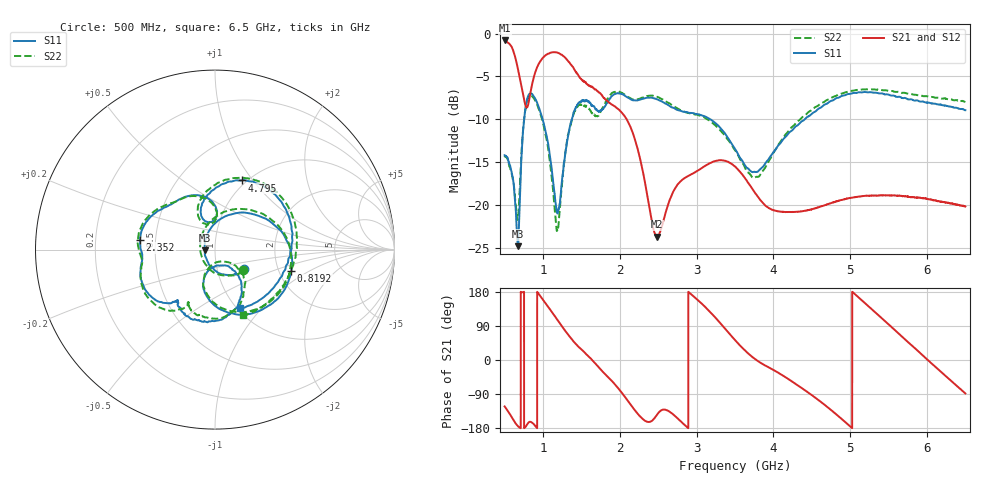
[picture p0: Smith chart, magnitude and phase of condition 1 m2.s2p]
# Hz S DB R 50
! CMT, S5065, 24347010, 24.3.4/3
! Date: 10/15/2024 11:50:22 AM
! Data: Format (Calibration Info)
! Freq	S11:dB/Ang(F2)	S21:dB/Ang(F2)	S12:dB/Ang(F2)	S22:dB/Ang(F2)
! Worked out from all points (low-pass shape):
!   10001 points, 500 MHz to 6.5 GHz, reference 50 ohm
!   highest |S21| = -0.81 dB at 503 MHz (marker M1); lowest = -23.7 dB at 2.484 GHz (marker M2)
!   |S21| within 3 dB of the highest: start of sweep to 665.3 MHz; 929.2 MHz to 1.379 GHz (450.1 MHz wide, 39 % of centre)
!   lowest |S11| = -24.8 dB at 672.8 MHz (marker M3), VSWR 1.12, Z = 44.6 - j0.429 ohm
!   |S11| at or under -10 dB: start of sweep to 754.8 MHz; 994.2 MHz to 1.377 GHz (382.6 MHz wide, 32.3 % of centre); 3.175 GHz to 4.411 GHz (1.236 GHz wide, 32.6 % of centre)
!   |S22| runs from -23.1 to -6.5 dB; largest |S21 - S12| = 0.0037
!   S11 on the Smith chart (normalised r, x): 500 MHz: 1.35, -0.30; 819.2 MHz: 2.33, -0.70; 2.352 GHz: 0.41, +0.05; 4.795 GHz: 0.95, +0.88; 6.5 GHz: 1.03, -0.77
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5e8  -14.20 -33.8  -0.81 -122.5  -0.81 -122.6  -14.28 -36.6
5.03e8  -14.26 -34.3  -0.81 -123.3  -0.82 -123.4  -14.36 -37.4
5.972e8  -16.45 -68.4  -1.67 -152.4  -1.66 -152.5  -16.57 -74.4
6.728e8  -24.82 -175.2  -4.11 -174.5  -4.12 -174.5  -21.66 179.8
7.442e8  -10.96 45.0  -7.34 179.0  -7.35 178.9  -10.86 51.6
8.192e8  -7.10 -15.8  -7.75 -163.8  -7.76 -163.7  -7.30 -12.2
1.0004e9  -10.19 -90.9  -2.82 159.0  -2.82 158.9  -10.47 -90.4
1.1846e9  -20.90 -85.0  -2.22 106.7  -2.21 106.6  -22.95 -77.7
1.3274e9  -11.88 -54.3  -3.23 66.8  -3.23 66.8  -11.77 -49.9
1.5002e9  -7.94 -95.0  -5.34 27.9  -5.32 27.8  -8.34 -93.2
1.946e9  -7.03 -146.6  -8.59 -66.7  -8.58 -66.8  -6.78 -143.0
2.1638e9  -7.77 -172.4  -11.47 -124.0  -11.47 -124.2  -7.68 -169.4
2.3522e9  -7.50 172.7  -18.62 -162.6  -18.62 -162.8  -7.29 175.2
2.4836e9  -7.66 158.6  -23.71 -144.6  -23.70 -144.8  -7.38 159.9
2.5004e9  -7.75 156.9  -23.62 -140.2  -23.62 -140.5  -7.43 158.3
2.804e9  -9.06 134.6  -17.15 -163.8  -17.17 -164.1  -9.00 133.2
3.5e9  -13.49 86.8  -15.52 52.7  -15.54 52.4  -13.63 87.2
3.8018e9  -16.08 104.1  -19.09 -3.3  -19.12 -3.7  -16.73 106.8
4.5002e9  -9.37 90.0  -20.51 -92.8  -20.53 -93.4  -8.93 90.7
4.7948e9  -7.69 69.0  -19.68 -139.4  -19.70 -139.8  -7.33 68.6
5.5004e9  -7.13 11.2  -18.90 94.0  -18.95 93.5  -6.71 10.4
6.5e9  -8.95 -67.0  -20.19 -88.3  -20.21 -88.2  -8.01 -67.4
